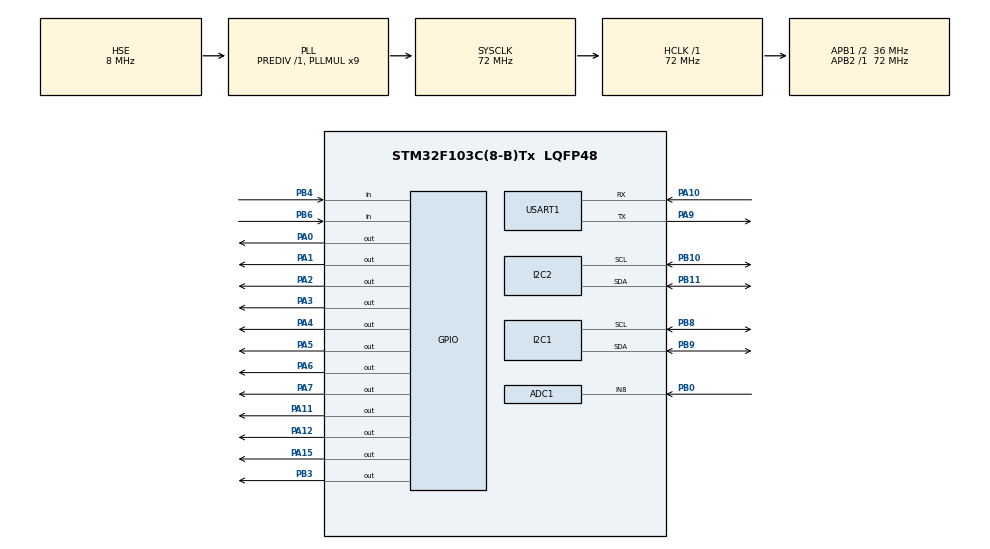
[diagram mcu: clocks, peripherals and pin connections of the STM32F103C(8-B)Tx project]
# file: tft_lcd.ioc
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ADC1.Channel-0\#ChannelRegularConversion=ADC_CHANNEL_8
ADC1.NbrOfConversionFlag=1
ADC1.Rank-0\#ChannelRegularConversion=1
ADC1.SamplingTime-0\#ChannelRegularConversion=ADC_SAMPLETIME_1CYCLE_5
ADC1.master=1
Mcu.Family=STM32F1
Mcu.Name=STM32F103C(8-B)Tx
Mcu.Package=LQFP48
NVIC.PriorityGroup=NVIC_PRIORITYGROUP_4
PA0-WKUP.Signal=GPIO_Output
PA1.Signal=GPIO_Output
PA10.Mode=Asynchronous
PA10.Signal=USART1_RX
PA11.Signal=GPIO_Output
PA12.Signal=GPIO_Output
PA13.Mode=Serial_Wire
PA13.Signal=SYS_JTMS-SWDIO
PA14.Mode=Serial_Wire
PA14.Signal=SYS_JTCK-SWCLK
PA15.Signal=GPIO_Output
PA2.Signal=GPIO_Output
PA3.Signal=GPIO_Output
PA4.Signal=GPIO_Output
PA5.Signal=GPIO_Output
PA6.Signal=GPIO_Output
PA7.Signal=GPIO_Output
PA9.Mode=Asynchronous
PA9.Signal=USART1_TX
PB0.Signal=ADCx_IN8
PB10.Mode=I2C
PB10.Signal=I2C2_SCL
PB11.Mode=I2C
PB11.Signal=I2C2_SDA
PB3.Signal=GPIO_Output
PB4.Signal=GPIO_Input
PB6.Signal=GPIO_Input
PB8.Mode=I2C
PB8.Signal=I2C1_SCL
PB9.Mode=I2C
PB9.Signal=I2C1_SDA
PD0-OSC_IN.Mode=HSE-External-Oscillator
PD0-OSC_IN.Signal=RCC_OSC_IN
PD1-OSC_OUT.Mode=HSE-External-Oscillator
PD1-OSC_OUT.Signal=RCC_OSC_OUT
ProjectManager.HeapSize=0x200
ProjectManager.StackSize=0x400
ProjectManager.TargetToolchain=STM32CubeIDE
RCC.ADCPresc=RCC_ADCPCLK2_DIV6
RCC.AHBFreq_Value=72000000
RCC.APB1CLKDivider=RCC_HCLK_DIV2
RCC.APB1Freq_Value=36000000
RCC.APB1TimFreq_Value=72000000
RCC.APB2Freq_Value=72000000
RCC.APB2TimFreq_Value=72000000
RCC.HCLKFreq_Value=72000000
RCC.PLLMUL=RCC_PLL_MUL9
RCC.PLLSourceVirtual=RCC_PLLSOURCE_HSE
RCC.SYSCLKFreq_VALUE=72000000
RCC.SYSCLKSource=RCC_SYSCLKSOURCE_PLLCLK
RCC.USBFreq_Value=72000000
SH.ADCx_IN8.0=ADC1_IN8,IN8
USART1.VirtualMode=VM_ASYNC
board=custom

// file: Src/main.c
/* USER CODE BEGIN Header */
/**
  ******************************************************************************
  * @file           : main.c
  * @brief          : Main program body
  ******************************************************************************
  * @attention
  *
  * <h2><center>&copy; Copyright (c) 2019 STMicroelectronics.
  * All rights reserved.</center></h2>
  *
  * This software component is licensed by ST under BSD 3-Clause license,
  * the "License"; You may not use this file except in compliance with the
  * License. You may obtain a copy of the License at:
  *                        opensource.org/licenses/BSD-3-Clause
  *
  ******************************************************************************
  */
/* USER CODE END Header */

#include "main.h"

/* USER CODE BEGIN Includes */

#include "testimg.h"
#include "mpu6050.h"
/* USER CODE END Includes */

ADC_HandleTypeDef hadc1;

I2C_HandleTypeDef hi2c1;
I2C_HandleTypeDef hi2c2;

UART_HandleTypeDef huart1;

void SystemClock_Config(void);
static void MX_GPIO_Init(void);
static void MX_ADC1_Init(void);
static void MX_I2C2_Init(void);
static void MX_USART1_UART_Init(void);
static void MX_I2C1_Init(void);

/* USER CODE BEGIN 0 */
void init() {
    ST7735_Init();
    const char ready[] = "Ready!\r\n";
//    HAL_TIM_PWM_Start(&htim4,TIM_CHANNEL_2);
//    HAL_TIM_PWM_Start(&htim4,TIM_CHANNEL_3);
//    HAL_TIM_PWM_Start(&htim4,TIM_CHANNEL_4);
//    init_MPU();
}

void lcd() {
//
#ifdef ST7735_IS_128X128
    ST7735_DrawImage(0, 0, ST7735_WIDTH, ST7735_HEIGHT, (uint16_t*)test_img_128x128);
    HAL_Delay(1000);
#endif // ST7735_IS_128X128

}
void buzzer(){
	  HAL_GPIO_WritePin(GPIOB, GPIO_PIN_3, GPIO_PIN_SET);
	  HAL_Delay(1000);
	  HAL_GPIO_WritePin(GPIOB, GPIO_PIN_3, GPIO_PIN_RESET);
	  HAL_Delay(1000);
}
void heart_led(){
	 HAL_GPIO_TogglePin(GPIOA, GPIO_PIN_7);
     HAL_Delay(50);
     HAL_GPIO_TogglePin(GPIOA, GPIO_PIN_6);
     HAL_Delay(50);
     HAL_GPIO_TogglePin(GPIOA, GPIO_PIN_5);
     HAL_Delay(50);
     HAL_GPIO_TogglePin(GPIOA, GPIO_PIN_4);
     HAL_Delay(50);
     HAL_GPIO_TogglePin(GPIOA, GPIO_PIN_3);
     HAL_Delay(50);
     HAL_GPIO_TogglePin(GPIOA, GPIO_PIN_2);
     HAL_Delay(50);
     HAL_GPIO_TogglePin(GPIOA, GPIO_PIN_1);
     HAL_Delay(50);
     HAL_GPIO_TogglePin(GPIOA, GPIO_PIN_0);
     HAL_Delay(50);
}
void RGB_led(){

}
/* USER CODE END 0 */

int main(void)
{

  /* MCU Configuration--------------------------------------------------------*/

  /* Reset of all peripherals, Initializes the Flash interface and the Systick. */
  HAL_Init();

  /* Configure the system clock */
  SystemClock_Config();

  /* Initialize all configured peripherals */
  MX_GPIO_Init();
  MX_ADC1_Init();
  MX_I2C2_Init();
  MX_USART1_UART_Init();
  MX_I2C1_Init();
  /* USER CODE BEGIN 2 */

  init();
//  buzzer();
  lcd();
  /* USER CODE END 2 */

  /* Infinite loop */
  while (1)
  {

    /* USER CODE BEGIN 3 */

//	  heart_led();
//	  RGB_led();
//	  process_MPU();
  }
  /* USER CODE END 3 */
}

void SystemClock_Config(void)
{
  RCC_OscInitTypeDef RCC_OscInitStruct = {0};
  RCC_ClkInitTypeDef RCC_ClkInitStruct = {0};
  RCC_PeriphCLKInitTypeDef PeriphClkInit = {0};

  /** Initializes the CPU, AHB and APB busses clocks
  */
  RCC_OscInitStruct.OscillatorType = RCC_OSCILLATORTYPE_HSE;
  RCC_OscInitStruct.HSEState = RCC_HSE_ON;
  RCC_OscInitStruct.HSEPredivValue = RCC_HSE_PREDIV_DIV1;
  RCC_OscInitStruct.HSIState = RCC_HSI_ON;
  RCC_OscInitStruct.PLL.PLLState = RCC_PLL_ON;
  RCC_OscInitStruct.PLL.PLLSource = RCC_PLLSOURCE_HSE;
  RCC_OscInitStruct.PLL.PLLMUL = RCC_PLL_MUL9;
  if (HAL_RCC_OscConfig(&RCC_OscInitStruct) != HAL_OK)
  {
    Error_Handler();
  }
  /** Initializes the CPU, AHB and APB busses clocks
  */
  RCC_ClkInitStruct.ClockType = RCC_CLOCKTYPE_HCLK|RCC_CLOCKTYPE_SYSCLK
                              |RCC_CLOCKTYPE_PCLK1|RCC_CLOCKTYPE_PCLK2;
  RCC_ClkInitStruct.SYSCLKSource = RCC_SYSCLKSOURCE_PLLCLK;
  RCC_ClkInitStruct.AHBCLKDivider = RCC_SYSCLK_DIV1;
  RCC_ClkInitStruct.APB1CLKDivider = RCC_HCLK_DIV2;
  RCC_ClkInitStruct.APB2CLKDivider = RCC_HCLK_DIV1;

  if (HAL_RCC_ClockConfig(&RCC_ClkInitStruct, FLASH_LATENCY_2) != HAL_OK)
  {
    Error_Handler();
  }
  PeriphClkInit.PeriphClockSelection = RCC_PERIPHCLK_ADC;
  PeriphClkInit.AdcClockSelection = RCC_ADCPCLK2_DIV6;
  if (HAL_RCCEx_PeriphCLKConfig(&PeriphClkInit) != HAL_OK)
  {
    Error_Handler();
  }
}

static void MX_ADC1_Init(void)
{

  ADC_ChannelConfTypeDef sConfig = {0};

  /** Common config
  */
  hadc1.Instance = ADC1;
  hadc1.Init.ScanConvMode = ADC_SCAN_DISABLE;
  hadc1.Init.ContinuousConvMode = DISABLE;
  hadc1.Init.DiscontinuousConvMode = DISABLE;
  hadc1.Init.ExternalTrigConv = ADC_SOFTWARE_START;
  hadc1.Init.DataAlign = ADC_DATAALIGN_RIGHT;
  hadc1.Init.NbrOfConversion = 1;
  if (HAL_ADC_Init(&hadc1) != HAL_OK)
  {
    Error_Handler();
  }
  /** Configure Regular Channel
  */
  sConfig.Channel = ADC_CHANNEL_8;
  sConfig.Rank = ADC_REGULAR_RANK_1;
  sConfig.SamplingTime = ADC_SAMPLETIME_1CYCLE_5;
  if (HAL_ADC_ConfigChannel(&hadc1, &sConfig) != HAL_OK)
  {
    Error_Handler();
  }

}

static void MX_I2C1_Init(void)
{

  hi2c1.Instance = I2C1;
  hi2c1.Init.ClockSpeed = 100000;
  hi2c1.Init.DutyCycle = I2C_DUTYCYCLE_2;
  hi2c1.Init.OwnAddress1 = 0;
  hi2c1.Init.AddressingMode = I2C_ADDRESSINGMODE_7BIT;
  hi2c1.Init.DualAddressMode = I2C_DUALADDRESS_DISABLE;
  hi2c1.Init.OwnAddress2 = 0;
  hi2c1.Init.GeneralCallMode = I2C_GENERALCALL_DISABLE;
  hi2c1.Init.NoStretchMode = I2C_NOSTRETCH_DISABLE;
  if (HAL_I2C_Init(&hi2c1) != HAL_OK)
  {
    Error_Handler();
  }

}

static void MX_I2C2_Init(void)
{

  hi2c2.Instance = I2C2;
  hi2c2.Init.ClockSpeed = 100000;
  hi2c2.Init.DutyCycle = I2C_DUTYCYCLE_2;
  hi2c2.Init.OwnAddress1 = 0;
  hi2c2.Init.AddressingMode = I2C_ADDRESSINGMODE_7BIT;
  hi2c2.Init.DualAddressMode = I2C_DUALADDRESS_DISABLE;
  hi2c2.Init.OwnAddress2 = 0;
  hi2c2.Init.GeneralCallMode = I2C_GENERALCALL_DISABLE;
  hi2c2.Init.NoStretchMode = I2C_NOSTRETCH_DISABLE;
  if (HAL_I2C_Init(&hi2c2) != HAL_OK)
  {
    Error_Handler();
  }

}

static void MX_USART1_UART_Init(void)
{

  huart1.Instance = USART1;
  huart1.Init.BaudRate = 115200;
  huart1.Init.WordLength = UART_WORDLENGTH_8B;
  huart1.Init.StopBits = UART_STOPBITS_1;
  huart1.Init.Parity = UART_PARITY_NONE;
  huart1.Init.Mode = UART_MODE_TX_RX;
  huart1.Init.HwFlowCtl = UART_HWCONTROL_NONE;
  huart1.Init.OverSampling = UART_OVERSAMPLING_16;
  if (HAL_UART_Init(&huart1) != HAL_OK)
  {
    Error_Handler();
  }

}

static void MX_GPIO_Init(void)
{
  GPIO_InitTypeDef GPIO_InitStruct = {0};

  /* GPIO Ports Clock Enable */
  __HAL_RCC_GPIOD_CLK_ENABLE();
  __HAL_RCC_GPIOA_CLK_ENABLE();
  __HAL_RCC_GPIOB_CLK_ENABLE();

  /*Configure GPIO pin Output Level */
  HAL_GPIO_WritePin(GPIOA, GPIO_PIN_0|GPIO_PIN_1|GPIO_PIN_2|GPIO_PIN_3
                          |GPIO_PIN_4|GPIO_PIN_5|GPIO_PIN_6|GPIO_PIN_7
                          |GPIO_PIN_11|GPIO_PIN_12|GPIO_PIN_15, GPIO_PIN_RESET);

  /*Configure GPIO pin Output Level */
  HAL_GPIO_WritePin(GPIOB, GPIO_PIN_3, GPIO_PIN_RESET);

  /*Configure GPIO pins : PA0 PA1 PA2 PA3
                           PA4 PA5 PA6 PA7
                           PA11 PA12 PA15 */
  GPIO_InitStruct.Pin = GPIO_PIN_0|GPIO_PIN_1|GPIO_PIN_2|GPIO_PIN_3
                          |GPIO_PIN_4|GPIO_PIN_5|GPIO_PIN_6|GPIO_PIN_7
                          |GPIO_PIN_11|GPIO_PIN_12|GPIO_PIN_15;
  GPIO_InitStruct.Mode = GPIO_MODE_OUTPUT_PP;
  GPIO_InitStruct.Pull = GPIO_NOPULL;
  GPIO_InitStruct.Speed = GPIO_SPEED_FREQ_LOW;
  HAL_GPIO_Init(GPIOA, &GPIO_InitStruct);

  /*Configure GPIO pin : PB3 */
  GPIO_InitStruct.Pin = GPIO_PIN_3;
  GPIO_InitStruct.Mode = GPIO_MODE_OUTPUT_PP;
  GPIO_InitStruct.Pull = GPIO_NOPULL;
  GPIO_InitStruct.Speed = GPIO_SPEED_FREQ_LOW;
  HAL_GPIO_Init(GPIOB, &GPIO_InitStruct);

  /*Configure GPIO pins : PB4 PB6 */
  GPIO_InitStruct.Pin = GPIO_PIN_4|GPIO_PIN_6;
  GPIO_InitStruct.Mode = GPIO_MODE_INPUT;
  GPIO_InitStruct.Pull = GPIO_NOPULL;
  HAL_GPIO_Init(GPIOB, &GPIO_InitStruct);

}

void Error_Handler(void)
{
}

/************************ (C) COPYRIGHT STMicroelectronics *****END OF FILE****/
